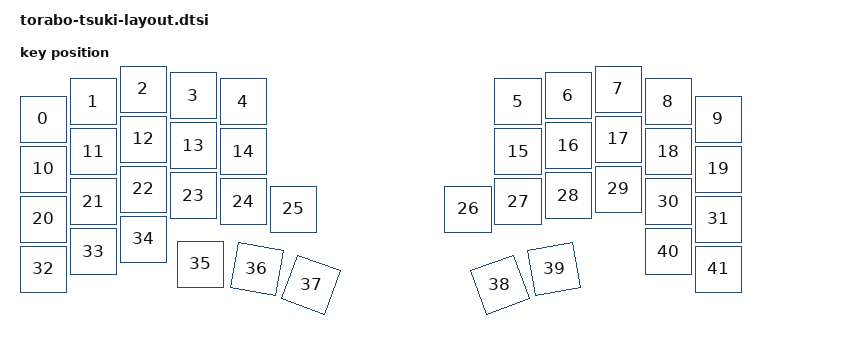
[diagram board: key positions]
#include <physical_layouts.dtsi>

/ {
    torabo_tsuki_lp_xs_layout: torabo_tsuki_lp_xs_layout {
        compatible = "zmk,physical-layout";
        display-name = "torabo-tsuki LP XS (right trackball)";

        keys
            //                    w   h     x    y     rot    rx    ry
            = <&key_physical_attrs 100 100    0   60       0     0     0>
            , <&key_physical_attrs 100 100  100   25       0     0     0>
            , <&key_physical_attrs 100 100  200    0       0     0     0>
            , <&key_physical_attrs 100 100  300   13       0     0     0>
            , <&key_physical_attrs 100 100  400   25       0     0     0>
            , <&key_physical_attrs 100 100  950   25       0     0     0>
            , <&key_physical_attrs 100 100 1050   13       0     0     0>
            , <&key_physical_attrs 100 100 1150    0       0     0     0>
            , <&key_physical_attrs 100 100 1250   25       0     0     0>
            , <&key_physical_attrs 100 100 1350   60       0     0     0>

            , <&key_physical_attrs 100 100    0  160       0     0     0>
            , <&key_physical_attrs 100 100  100  125       0     0     0>
            , <&key_physical_attrs 100 100  200  100       0     0     0>
            , <&key_physical_attrs 100 100  300  113       0     0     0>
            , <&key_physical_attrs 100 100  400  125       0     0     0>
            , <&key_physical_attrs 100 100  950  125       0     0     0>
            , <&key_physical_attrs 100 100 1050  113       0     0     0>
            , <&key_physical_attrs 100 100 1150  100       0     0     0>
            , <&key_physical_attrs 100 100 1250  125       0     0     0>
            , <&key_physical_attrs 100 100 1350  160       0     0     0>

            , <&key_physical_attrs 100 100    0  260       0     0     0>
            , <&key_physical_attrs 100 100  100  225       0     0     0>
            , <&key_physical_attrs 100 100  200  200       0     0     0>
            , <&key_physical_attrs 100 100  300  213       0     0     0>
            , <&key_physical_attrs 100 100  400  225       0     0     0>
            , <&key_physical_attrs 100 100  500  240       0     0     0>
            , <&key_physical_attrs 100 100  850  240       0     0     0>
            , <&key_physical_attrs 100 100  950  225       0     0     0>
            , <&key_physical_attrs 100 100 1050  213       0     0     0>
            , <&key_physical_attrs 100 100 1150  200       0     0     0>
            , <&key_physical_attrs 100 100 1250  225       0     0     0>
            , <&key_physical_attrs 100 100 1350  260       0     0     0>

            , <&key_physical_attrs 100 100    0  360       0     0     0>
            , <&key_physical_attrs 100 100  100  325       0     0     0>
            , <&key_physical_attrs 100 100  200  300       0     0     0>
            , <&key_physical_attrs 100 100  315  350       0     0     0>
            , <&key_physical_attrs 100 100  420  350    1000   420   450>
            , <&key_physical_attrs 100 100  522  371    2000   522   471>
            , <&key_physical_attrs 100 100  928  371   -2000  1028   471>
            , <&key_physical_attrs 100 100 1030  350   -1000  1130   450>
            , <&key_physical_attrs 100 100 1250  325       0     0     0>
            , <&key_physical_attrs 100 100 1350  360       0     0     0>
            ;
    };
};
